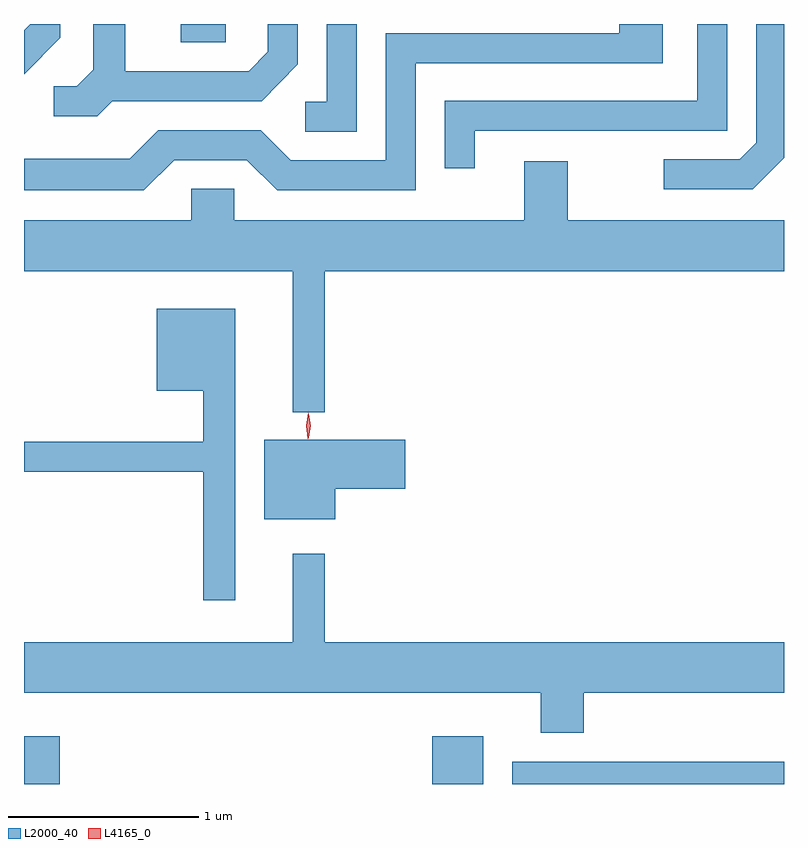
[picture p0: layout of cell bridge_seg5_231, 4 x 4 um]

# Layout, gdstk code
import gdstk
lib = gdstk.Library(unit=1e-6, precision=1e-09)
def R(c, l, rs):  # rectangles x0, y0, x1, y1
    for r in rs: c.add(gdstk.rectangle(r[:2], r[2:], *l))
def P(c, l, *ps):  # polygons
    for p in ps: c.add(gdstk.Polygon(p, *l))
L2000_40 = (2000, 40)
L4165_0 = (4165, 0)

bridge_seg5_231 = lib.new_cell('bridge_seg5_231')
R(bridge_seg5_231, L2000_40, [(1329.407,1449.657,1329.594,1449.909), (1331.556,1449.657,1331.824,1449.909), (1331.976,1449.657,1333.407,1449.774), (1330.231,1453.561,1330.469,1453.657)])
P(bridge_seg5_231, L2000_40, [(1333.407,1452.952),(1333.407,1453.657),(1333.261,1453.657),(1333.261,1453.032),(1333.174,1452.944),(1332.773,1452.944),(1332.773,1452.786),(1333.242,1452.786)],
  [(1331.779,1453.096),(1333.109,1453.096),(1333.109,1453.657),(1332.951,1453.657),(1332.951,1453.254),(1331.621,1453.254),(1331.621,1452.898),(1331.779,1452.898)],
  [(1331.159,1453.657),(1331.001,1453.657),(1331.001,1453.249),(1330.888,1453.249),(1330.888,1453.091),(1331.159,1453.091)],
  [(1329.872,1453.251),(1330.657,1453.251),(1330.849,1453.444),(1330.849,1453.657),(1330.691,1453.657),(1330.691,1453.512),(1330.589,1453.409),(1329.939,1453.409),(1329.939,1453.657),(1329.771,1453.657),(1329.771,1453.417),(1329.684,1453.329),(1329.563,1453.329),(1329.563,1453.171),(1329.792,1453.171)],
  [(1329.599,1453.584),(1329.599,1453.657),(1329.441,1453.657),(1329.407,1453.623),(1329.407,1453.392)],
  [(1330.197,1452.941),(1330.579,1452.941),(1330.739,1452.781),(1331.469,1452.781),(1331.469,1453.451),(1332.769,1453.451),(1332.769,1453.657),(1332.541,1453.657),(1332.541,1453.609),(1331.311,1453.609),(1331.311,1452.939),(1330.812,1452.939),(1330.652,1453.099),(1330.114,1453.099),(1329.964,1452.949),(1329.407,1452.949),(1329.407,1452.781),(1330.037,1452.781)],
  [(1330.989,1452.356),(1333.407,1452.356),(1333.407,1452.624),(1332.269,1452.624),(1332.269,1452.934),(1332.041,1452.934),(1332.041,1452.624),(1330.514,1452.624),(1330.514,1452.789),(1330.286,1452.789),(1330.286,1452.624),(1329.407,1452.624),(1329.407,1452.356),(1330.821,1452.356),(1330.821,1451.613),(1330.989,1451.613)],
  [(1330.519,1452.159),(1330.106,1452.159),(1330.106,1451.726),(1330.351,1451.726),(1330.351,1451.459),(1329.407,1451.459),(1329.407,1451.301),(1330.351,1451.301),(1330.351,1450.623),(1330.519,1450.623)],
  [(1331.044,1451.211),(1331.414,1451.211),(1331.414,1451.469),(1330.671,1451.469),(1330.671,1451.051),(1331.044,1451.051)],
  [(1332.354,1450.136),(1333.407,1450.136),(1333.407,1450.404),(1330.989,1450.404),(1330.989,1450.868),(1330.821,1450.868),(1330.821,1450.404),(1329.407,1450.404),(1329.407,1450.136),(1332.126,1450.136),(1332.126,1449.926),(1332.354,1449.926)])
P(bridge_seg5_231, L4165_0, [(1330.905,1451.48),(1330.896,1451.543),(1330.905,1451.606),(1330.905,1451.607),(1330.906,1451.606),(1330.916,1451.543),(1330.906,1451.48),(1330.906,1451.48)],
  [(1330.901,1451.474),(1330.893,1451.542),(1330.903,1451.61),(1330.904,1451.61),(1330.904,1451.61),(1330.913,1451.542),(1330.902,1451.474),(1330.902,1451.474)])

lib.write_gds('bridge_seg5_231.gds')
